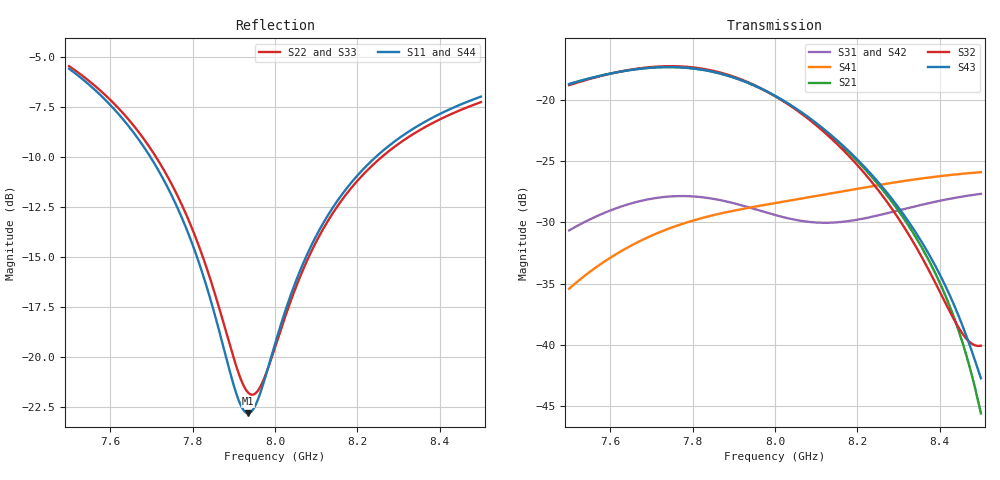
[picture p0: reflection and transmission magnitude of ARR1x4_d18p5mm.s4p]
! Touchstone file exported from HFSS 2025.1.0
!  File:  C:/Users/user/Documents/Ansoft/TFG_UWB-MIMO-Array.aedt
!  Generated:  05:34:58 PM Nov 20, 2026
!  Design:  ARR1x4_P01_MS2_dparam
!  Project:  TFG_UWB-MIMO-Array
!  Setup:  Setup_ch9
!  Solution:  Sweep_7p5_8p5
! Variables:
!  arr_d = 18.5mm
!  board_m = 13mm
!  board_x = 81.5mm
!  board_y = 26mm
!  cu_t = 0.035mm
!  line_w = 3.92mm
!  pad_xy = 22mm
!  pad_zn = 25mm
!  pad_zp = 33mm
!  patch_L = 7.322mm
!  patch_W = 11.421266mm
!  sub_h = 2.07mm
!  tr_l = 7.1mm
!  tr_w = 0.8mm
# GHz S MA R 50.000000
! Terminal data exported
! Port[1] = P1
! Port[2] = P2
! Port[3] = P3
! Port[4] = P4
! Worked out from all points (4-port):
!   1001 points, 7.5 GHz to 8.5 GHz, reference 50 ohm
!   strongest paths, dB at 7.5 GHz, 7.75 GHz, 8 GHz, 8.25 GHz, 8.5 GHz:
!     S43: -18.7, -17.3, -19.7, -26.7, -42.7
!     S32: -18.8, -17.3, -19.7, -27.3, -40.1
!     S21: -18.7, -17.3, -19.7, -26.9, -45.6
!     S41: -35.4, -30.4, -28.4, -27.0, -25.9
!     S31: -30.7, -27.9, -29.4, -29.4, -27.7
!     S42: -30.6, -27.8, -29.4, -29.6, -27.9
!   lowest |S11| = -22.8 dB at 7.935 GHz (marker M1), VSWR 1.16, Z = 57.3 + j2.54 ohm
!   |S11| at or under -10 dB: 7.697 GHz to 8.246 GHz (548.9 MHz wide, 6.89 % of centre)
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7.5  0.5241 157.1  0.1158 -44.2  0.02932 156.9  0.01696 -33.8
     0.1158 -44.2  0.532 157.8  0.1146 -42.2  0.02938 157.7
     0.02932 156.9  0.1146 -42.2  0.5309 158.3  0.1158 -43.8
     0.01696 -33.8  0.02938 157.7  0.1158 -43.8  0.5254 157.2
7.742  0.2615 119.0  0.1358 -96.0  0.04028 81.4  0.02981 -118.6
       0.1358 -96.0  0.2784 119.2  0.137 -93.8  0.04064 82.4
       0.04028 81.4  0.137 -93.8  0.2761 120.0  0.1359 -95.5
       0.02981 -118.6  0.04064 82.4  0.1359 -95.5  0.2639 119.0
7.935  0.07224 17.8  0.1169 -143.2  0.03645 2.5  0.03622 158.3
       0.1169 -143.2  0.08133 26.7  0.1177 -141.0  0.0368 4.0
       0.03645 2.5  0.1177 -141.0  0.07792 26.4  0.1172 -142.4
       0.03622 158.3  0.0368 4.0  0.1172 -142.4  0.07465 19.9
8.108  0.2076 -73.5  0.07783 176.8  0.03153 -80.2  0.04073 85.2
       0.07783 176.8  0.2008 -71.3  0.07664 -179.8  0.03129 -78.1
       0.03153 -80.2  0.07664 -179.8  0.2002 -71.7  0.07843 178.1
       0.04073 85.2  0.03129 -78.1  0.07843 178.1  0.2062 -72.3
8.299  0.3502 -102.1  0.03541 140.0  0.03533 -160.9  0.04623 17.5
       0.03541 140.0  0.3397 -101.6  0.03297 150.4  0.03445 -159.6
       0.03533 -160.9  0.03297 150.4  0.3394 -101.4  0.03651 142.7
       0.04623 17.5  0.03445 -159.6  0.03651 142.7  0.3487 -101.2
8.417  0.4119 -114.3  0.01543 124.8  0.03922 161.5  0.04914 -17.3
       0.01543 124.8  0.3992 -114.0  0.01449 154.3  0.03817 162.4
       0.03922 161.5  0.01449 154.3  0.3991 -113.6  0.01697 129.9
       0.04914 -17.3  0.03817 162.4  0.01697 129.9  0.4106 -113.5
8.5  0.4464 -121.7  0.005265 135.6  0.04132 139.2  0.05064 -39.3
     0.005265 135.6  0.4325 -121.4  0.009931 -169.2  0.04022 139.9
     0.04132 139.2  0.009931 -169.2  0.4328 -121.0  0.007318 140.1
     0.05064 -39.3  0.04022 139.9  0.007318 140.1  0.4454 -121.0
